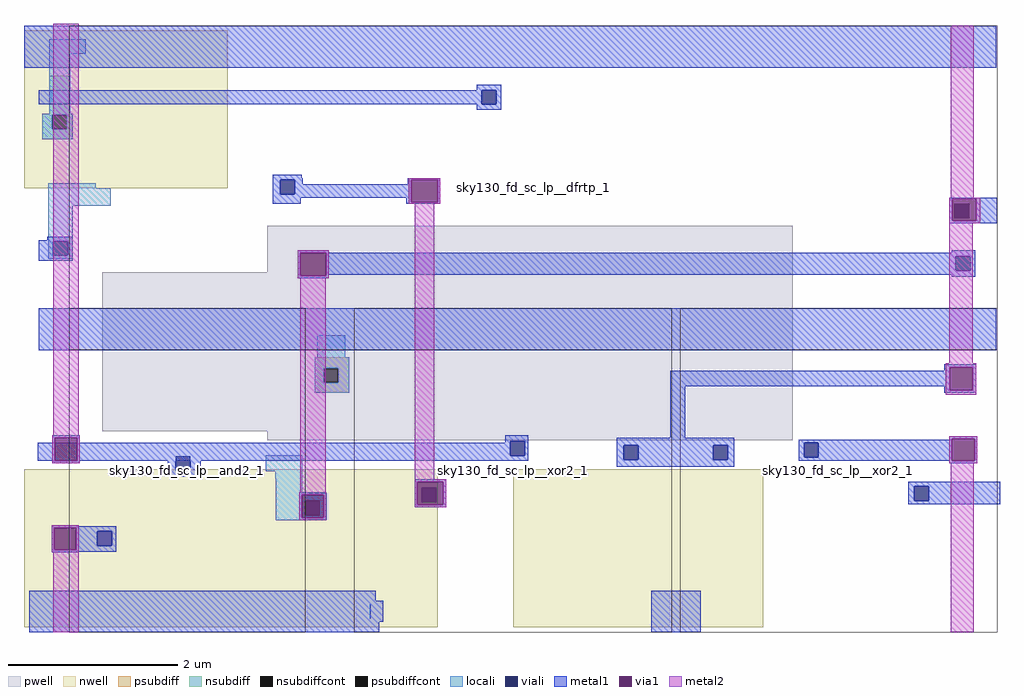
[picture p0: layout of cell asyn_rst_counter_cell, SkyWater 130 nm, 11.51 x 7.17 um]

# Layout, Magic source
magic
tech sky130A
magscale 1 2
<< nwell >>
rect 0 11 974 384
rect 1153 11 1742 384
<< pwell >>
rect 184 474 763 848
rect 966 452 1811 958
<< locali >>
rect 569 379 655 417
rect 591 363 655 379
rect 592 330 655 363
rect 592 327 668 330
rect 592 310 713 327
rect 592 276 662 310
rect 696 276 713 310
rect 592 265 713 276
rect 592 264 668 265
<< viali >>
rect 2196 852 2230 886
rect 357 381 391 415
rect 1624 406 1658 440
rect 1838 412 1872 446
rect 2098 310 2132 344
rect 662 276 696 310
rect 172 204 206 238
<< metal1 >>
rect -1 1331 243 1430
rect 644 894 718 900
rect 2186 894 2242 900
rect 644 840 650 894
rect 712 886 2242 894
rect 712 852 2196 886
rect 2230 852 2242 886
rect 712 842 2242 852
rect 712 840 718 842
rect 644 834 718 840
rect 2186 838 2242 842
rect 66 458 130 464
rect 66 404 72 458
rect 124 404 130 458
rect 1474 440 1674 458
rect 2180 456 2246 462
rect 2180 454 2186 456
rect 66 398 130 404
rect 338 415 416 416
rect 338 381 357 415
rect 391 381 416 415
rect 1474 406 1624 440
rect 1658 406 1674 440
rect 1474 390 1674 406
rect 1826 446 2186 454
rect 1826 412 1838 446
rect 1872 412 2186 446
rect 1826 404 2186 412
rect 2240 404 2246 456
rect 2180 398 2246 404
rect 338 366 416 381
rect 2084 344 2300 354
rect 648 324 712 330
rect 648 270 654 324
rect 706 270 712 324
rect 2084 310 2098 344
rect 2132 310 2300 344
rect 2084 302 2300 310
rect 648 264 712 270
rect 64 250 128 252
rect 64 246 216 250
rect 64 194 70 246
rect 122 238 216 246
rect 122 204 172 238
rect 206 204 216 238
rect 122 194 216 204
rect 64 190 216 194
rect 64 188 128 190
rect 11 74 828 98
rect 11 24 846 74
rect 11 0 836 24
rect 1478 0 1594 98
<< via1 >>
rect 650 840 712 894
rect 72 404 124 458
rect 2186 404 2240 456
rect 654 310 706 324
rect 654 276 662 310
rect 662 276 696 310
rect 696 276 706 310
rect 654 270 706 276
rect 70 194 122 246
<< metal2 >>
rect 68 464 128 1434
rect 2184 1020 2238 1430
rect 644 894 718 900
rect 644 840 650 894
rect 712 840 718 894
rect 644 834 718 840
rect 66 458 130 464
rect 66 404 72 458
rect 124 404 130 458
rect 66 398 130 404
rect 650 330 710 834
rect 2180 456 2246 462
rect 2180 404 2186 456
rect 2240 404 2246 456
rect 2180 398 2246 404
rect 648 324 712 330
rect 648 270 654 324
rect 706 270 712 324
rect 648 264 712 270
rect 64 246 128 252
rect 64 194 70 246
rect 122 194 128 246
rect 64 188 128 194
rect 68 0 128 188
rect 2184 0 2238 398
use T_flip_flop  T_flip_flop_0 ~/Desktop/Fossi_cochlea/cochlea_sky130/mag/T_flip_flop
transform 1 0 -786 0 1 716
box 786 -716 3080 714
use sky130_fd_sc_lp__and2_1  sky130_fd_sc_lp__and2_1_0 ~/sky130A/libs.ref/sky130_fd_sc_lp/mag
transform -1 0 624 0 -1 715
box -38 -49 518 715
use sky130_fd_sc_lp__xor2_1  sky130_fd_sc_lp__xor2_1_0 ~/sky130A/libs.ref/sky130_fd_sc_lp/mag
transform 1 0 1584 0 -1 715
box -38 -49 710 715
<< end >>

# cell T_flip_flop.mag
magic
tech sky130A
magscale 1 2
<< nwell >>
rect 786 330 1265 703
<< pwell >>
rect 1359 -264 2119 242
<< psubdiff >>
rect 1470 -94 1552 -68
rect 1470 -128 1492 -94
rect 1526 -128 1552 -94
rect 1470 -152 1552 -128
<< nsubdiff >>
rect 844 506 894 596
rect 828 504 900 506
rect 828 470 852 504
rect 886 470 900 504
rect 828 446 900 470
<< psubdiffcont >>
rect 1492 -128 1526 -94
<< nsubdiffcont >>
rect 852 470 886 504
<< locali >>
rect 844 648 930 682
rect 844 506 894 648
rect 828 504 900 506
rect 828 470 852 504
rect 886 470 900 504
rect 828 446 900 470
rect 842 330 954 342
rect 842 289 990 330
rect 842 206 900 289
rect 842 172 854 206
rect 888 172 900 206
rect 842 164 900 172
rect 1476 -68 1542 -16
rect 1470 -94 1552 -68
rect 1470 -128 1492 -94
rect 1526 -128 1552 -94
rect 1470 -152 1552 -128
rect 1600 -684 1602 -650
<< viali >>
rect 1864 528 1898 562
rect 1389 316 1423 350
rect 2978 260 3014 294
rect 854 172 888 206
rect 1931 -300 1965 -266
rect 2199 -310 2233 -276
rect 1723 -410 1757 -376
<< metal1 >>
rect 820 713 1609 714
rect 820 615 3077 713
rect 1852 562 1910 574
rect 820 528 1864 562
rect 1898 528 1910 562
rect 1852 516 1910 528
rect 1372 354 1440 362
rect 1372 350 1442 354
rect 1372 316 1389 350
rect 1423 340 1442 350
rect 1690 350 1766 354
rect 1690 340 1698 350
rect 1423 316 1698 340
rect 1372 308 1698 316
rect 1372 294 1438 308
rect 1686 298 1698 308
rect 1760 298 1766 350
rect 1686 294 1766 298
rect 2966 306 3080 308
rect 2966 254 2974 306
rect 3030 254 3080 306
rect 2966 248 3080 254
rect 840 208 900 216
rect 820 206 900 208
rect 820 172 854 206
rect 888 172 900 206
rect 820 160 900 172
rect 820 -51 3077 48
rect 2954 -92 3030 -84
rect 2954 -100 2968 -92
rect 2308 -136 2968 -100
rect 1920 -266 1974 -252
rect 2308 -258 2344 -136
rect 2954 -146 2968 -136
rect 3022 -146 3030 -92
rect 2954 -152 3030 -146
rect 1920 -270 1931 -266
rect 817 -300 1931 -270
rect 1965 -300 1974 -266
rect 817 -312 1974 -300
rect 2182 -276 2344 -258
rect 2182 -310 2199 -276
rect 2233 -310 2344 -276
rect 2182 -326 2344 -310
rect 1706 -362 1780 -356
rect 1706 -416 1712 -362
rect 1774 -416 1780 -362
rect 1706 -422 1780 -416
<< via1 >>
rect 1698 298 1760 350
rect 2974 294 3030 306
rect 2974 260 2978 294
rect 2978 260 3014 294
rect 3014 260 3030 294
rect 2974 254 3030 260
rect 2968 -146 3022 -92
rect 1712 -376 1774 -362
rect 1712 -410 1723 -376
rect 1723 -410 1757 -376
rect 1757 -410 1774 -376
rect 1712 -416 1774 -410
<< metal2 >>
rect 1692 350 1766 354
rect 1692 298 1698 350
rect 1760 298 1766 350
rect 1692 294 1766 298
rect 2966 306 3040 308
rect 1706 -356 1752 294
rect 2966 254 2974 306
rect 3030 254 3040 306
rect 2966 248 3040 254
rect 2966 -82 3022 248
rect 2958 -92 3030 -82
rect 2958 -146 2968 -92
rect 3022 -146 3030 -92
rect 2958 -156 3030 -146
rect 1706 -362 1780 -356
rect 1706 -416 1712 -362
rect 1774 -416 1780 -362
rect 1706 -422 1780 -416
use sky130_fd_sc_lp__dfrtp_1  sky130_fd_sc_lp__dfrtp_1_1 ~/sky130A/libs.ref/sky130_fd_sc_lp/mag
transform 1 0 930 0 1 -1
box -38 -49 2150 715
use sky130_fd_sc_lp__xor2_1  sky130_fd_sc_lp__xor2_1_1 ~/sky130A/libs.ref/sky130_fd_sc_lp/mag
transform -1 0 2274 0 -1 -1
box -38 -49 710 715
use sky130_fd_sc_lp__dfrtp_1  sky130_fd_sc_lp__dfrtp_1_0
transform 1 0 930 0 1 -1
box -38 -49 2150 715
use sky130_fd_sc_lp__xor2_1  sky130_fd_sc_lp__xor2_1_0
transform -1 0 2274 0 -1 -1
box -38 -49 710 715
use sky130_fd_sc_lp__dfrtp_1  sky130_fd_sc_lp__dfrtp_1_2
transform 1 0 930 0 1 -1
box -38 -49 2150 715
use sky130_fd_sc_lp__xor2_1  sky130_fd_sc_lp__xor2_1_2
transform -1 0 2274 0 -1 -1
box -38 -49 710 715
use sky130_fd_sc_lp__dfrtp_1  sky130_fd_sc_lp__dfrtp_1_3
transform 1 0 930 0 1 -1
box -38 -49 2150 715
use sky130_fd_sc_lp__xor2_1  sky130_fd_sc_lp__xor2_1_3
transform -1 0 2274 0 -1 -1
box -38 -49 710 715
<< end >>
